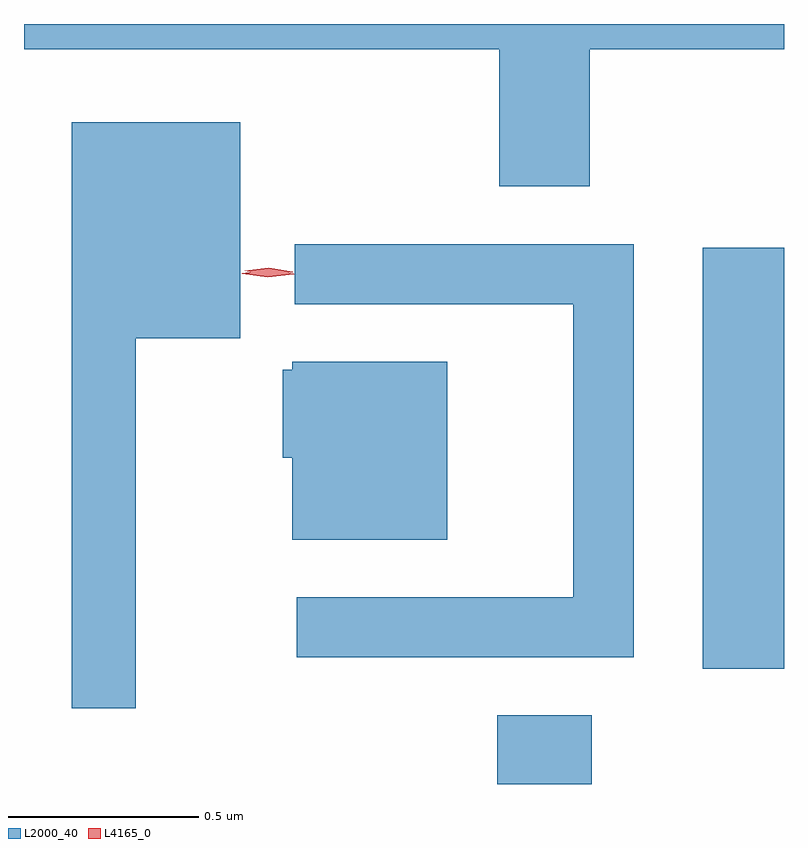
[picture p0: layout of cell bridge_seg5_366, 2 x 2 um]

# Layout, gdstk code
import gdstk
lib = gdstk.Library(unit=1e-6, precision=1e-09)
def R(c, l, rs):  # rectangles x0, y0, x1, y1
    for r in rs: c.add(gdstk.rectangle(r[:2], r[2:], *l))
def P(c, l, *ps):  # polygons
    for p in ps: c.add(gdstk.Polygon(p, *l))
L2000_40 = (2000, 40)
L4165_0 = (4165, 0)

bridge_seg5_366 = lib.new_cell('bridge_seg5_366')
R(bridge_seg5_366, L2000_40, [(749.741,1454.863,749.989,1455.044), (750.281,1455.166,750.495,1456.274)])
P(bridge_seg5_366, L2000_40, [(749.984,1456.796),(750.495,1456.796),(750.495,1456.863),(748.495,1456.863),(748.495,1456.796),(749.746,1456.796),(749.746,1456.436),(749.984,1456.436)],
  [(748.789,1456.036),(749.064,1456.036),(749.064,1456.604),(748.621,1456.604),(748.621,1455.063),(748.789,1455.063)],
  [(750.099,1456.284),(749.208,1456.284),(749.208,1456.126),(749.941,1456.126),(749.941,1455.354),(749.213,1455.354),(749.213,1455.196),(750.099,1455.196)],
  [(749.609,1455.974),(749.201,1455.974),(749.201,1455.953),(749.176,1455.953),(749.176,1455.721),(749.201,1455.721),(749.201,1455.506),(749.609,1455.506)])
P(bridge_seg5_366, L4165_0, [(749.137,1456.196),(749.069,1456.206),(749.068,1456.207),(749.069,1456.207),(749.137,1456.216),(749.205,1456.206),(749.206,1456.205),(749.205,1456.205)],
  [(749.139,1456.202),(749.076,1456.214),(749.076,1456.214),(749.076,1456.214),(749.139,1456.222),(749.202,1456.211),(749.202,1456.21),(749.202,1456.21)])

lib.write_gds('bridge_seg5_366.gds')
